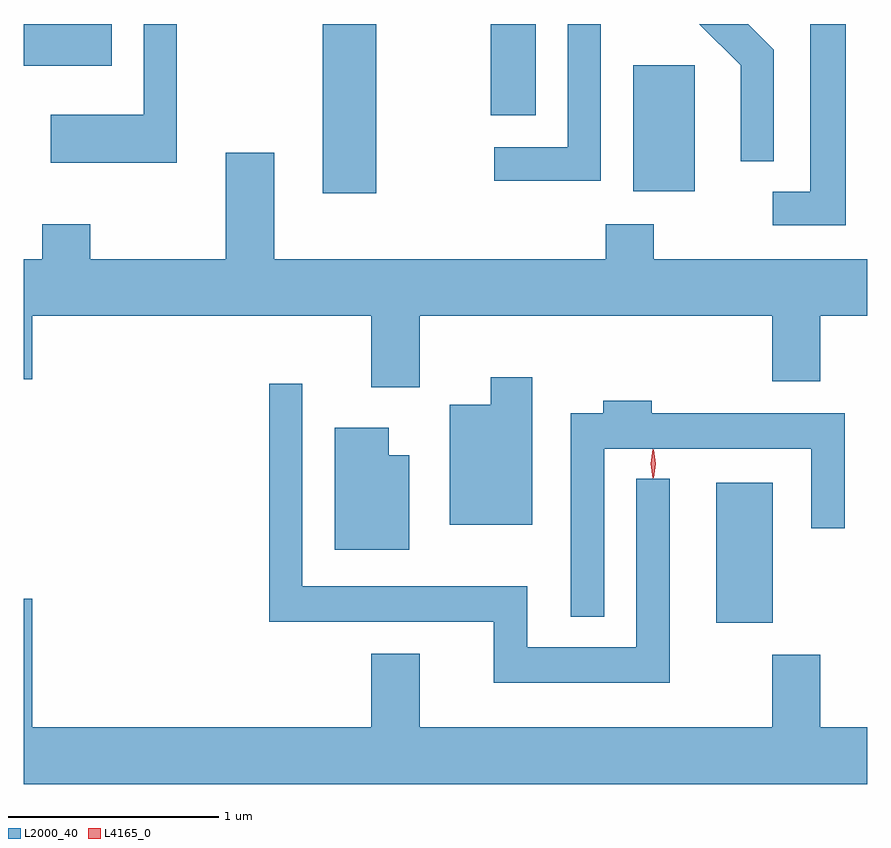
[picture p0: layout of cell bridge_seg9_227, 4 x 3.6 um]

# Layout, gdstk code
import gdstk
lib = gdstk.Library(unit=1e-6, precision=1e-09)
def R(c, l, rs):  # rectangles x0, y0, x1, y1
    for r in rs: c.add(gdstk.rectangle(r[:2], r[2:], *l))
def P(c, l, *ps):  # polygons
    for p in ps: c.add(gdstk.Polygon(p, *l))
L2000_40 = (2000, 40)
L4165_0 = (4165, 0)

bridge_seg9_227 = lib.new_cell('bridge_seg9_227')
R(bridge_seg9_227, L2000_40, [(1477.326,1945.961,1477.594,1946.624), (1475.461,1947.996,1475.714,1948.799), (1476.931,1948.006,1477.224,1948.604), (1476.256,1948.366,1476.469,1948.799), (1474.042,1948.601,1474.459,1948.799)])
P(bridge_seg9_227, L2000_40, [(1474.769,1948.799),(1474.611,1948.799),(1474.611,1948.369),(1474.171,1948.369),(1474.171,1948.141),(1474.769,1948.141)],
  [(1477.599,1948.677),(1477.477,1948.799),(1477.246,1948.799),(1477.441,1948.604),(1477.441,1948.148),(1477.599,1948.148)],
  [(1477.939,1948.799),(1477.771,1948.799),(1477.771,1948.004),(1477.593,1948.004),(1477.593,1947.846),(1477.939,1947.846)],
  [(1476.779,1948.799),(1476.621,1948.799),(1476.621,1948.214),(1476.273,1948.214),(1476.273,1948.056),(1476.779,1948.056)],
  [(1475.229,1948.189),(1475.001,1948.189),(1475.001,1947.684),(1474.359,1947.684),(1474.359,1947.849),(1474.131,1947.849),(1474.131,1947.684),(1474.042,1947.684),(1474.042,1947.116),(1474.084,1947.116),(1474.084,1947.416),(1475.691,1947.416),(1475.691,1947.076),(1475.919,1947.076),(1475.919,1947.416),(1477.591,1947.416),(1477.591,1947.106),(1477.819,1947.106),(1477.819,1947.416),(1478.042,1947.416),(1478.042,1947.684),(1477.029,1947.684),(1477.029,1947.849),(1476.801,1947.849),(1476.801,1947.684),(1475.229,1947.684)],
  [(1476.454,1947.124),(1476.256,1947.124),(1476.256,1946.994),(1476.061,1946.994),(1476.061,1946.426),(1476.454,1946.426)],
  [(1477.104,1946.643),(1476.946,1946.643),(1476.946,1945.844),(1476.429,1945.844),(1476.429,1946.134),(1475.364,1946.134),(1475.364,1947.093),(1475.206,1947.093),(1475.206,1945.966),(1476.271,1945.966),(1476.271,1945.676),(1477.104,1945.676)],
  [(1476.794,1946.786),(1477.776,1946.786),(1477.776,1946.408),(1477.934,1946.408),(1477.934,1946.954),(1477.019,1946.954),(1477.019,1947.014),(1476.791,1947.014),(1476.791,1946.954),(1476.636,1946.954),(1476.636,1945.988),(1476.794,1945.988)],
  [(1475.869,1946.754),(1475.774,1946.754),(1475.774,1946.884),(1475.516,1946.884),(1475.516,1946.306),(1475.869,1946.306)],
  [(1478.042,1945.464),(1477.819,1945.464),(1477.819,1945.809),(1477.591,1945.809),(1477.591,1945.464),(1475.919,1945.464),(1475.919,1945.814),(1475.691,1945.814),(1475.691,1945.464),(1474.084,1945.464),(1474.084,1946.074),(1474.042,1946.074),(1474.042,1945.196),(1478.042,1945.196)])
P(bridge_seg9_227, L4165_0, [(1477.024,1946.645),(1477.024,1946.645),(1477.014,1946.714),(1477.024,1946.782),(1477.024,1946.783),(1477.025,1946.782),(1477.034,1946.714),(1477.025,1946.645)],
  [(1477.028,1946.648),(1477.019,1946.714),(1477.028,1946.78),(1477.029,1946.78),(1477.029,1946.78),(1477.039,1946.714),(1477.029,1946.648),(1477.029,1946.648)])

lib.write_gds('bridge_seg9_227.gds')
